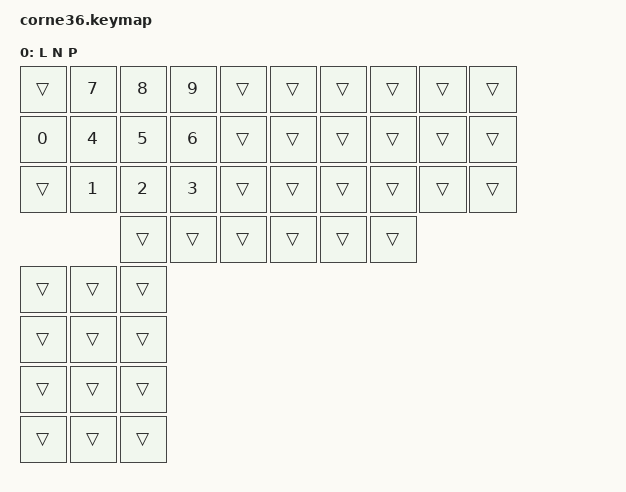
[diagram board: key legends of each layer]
/*
 * Copyright (c) 2020 The ZMK Contributors
 *
 * SPDX-License-Identifier: MIT
 */

#include <zephyr/dt-bindings/input/input-event-codes.h>

#include <behaviors.dtsi>
#include <behaviors/studio_unlock.dtsi>
#include <behaviors/mouse_keys.dtsi>
#include <behaviors/mouse_key_press.dtsi>
//#include <behaviors/mouse_key_toggle.dtsi>
#include <dt-bindings/zmk/keys.h>
#include <dt-bindings/zmk/bt.h>
#include <dt-bindings/zmk/rgb.h>
#include <dt-bindings/zmk/ext_power.h>
#include <dt-bindings/zmk/outputs.h>
#include <dt-bindings/zmk/mouse.h>
#include <dt-bindings/zmk/input_transform.h>

/ {
        tpoint0_mmv_il {
                compatible = "zmk,input-listener";
                device = <&tpoint0_split>;
        };


        keymap {
                compatible = "zmk,keymap";
                LNP_layer {
                        display-name = "L N P";
                        bindings = <
   &trans  &kp N7  &kp N8  &kp N9  &trans    &trans  &trans  &trans  &trans  &trans
   &kp N0  &kp N4  &kp N5  &kp N6  &trans    &trans  &trans  &trans  &trans  &trans
   &trans  &kp N1  &kp N2  &kp N3  &trans    &trans  &trans  &trans  &trans  &trans
                   &trans  &trans  &trans    &trans  &trans  &trans
   &trans   &trans   &trans
   &trans   &trans   &trans
   &trans   &trans   &trans
   &trans   &trans   &trans
                        >;
                };
       };
};
